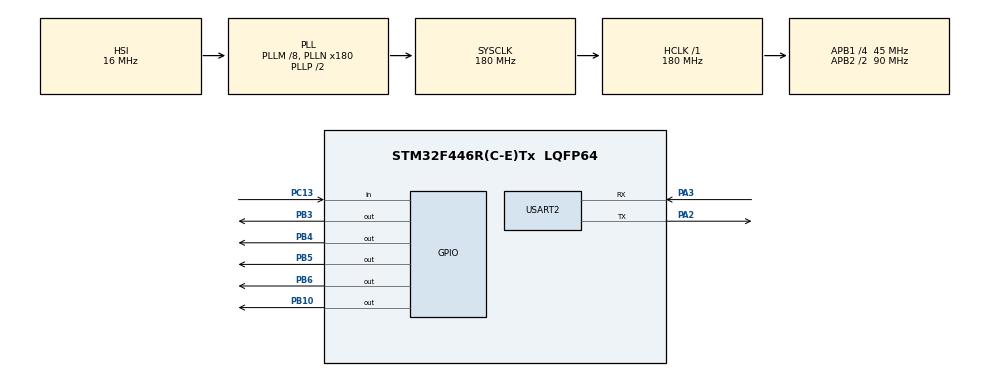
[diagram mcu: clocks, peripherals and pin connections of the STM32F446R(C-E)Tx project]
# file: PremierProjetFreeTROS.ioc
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FREERTOS.Tasks01=Task1,24,128,StartTask1,Default,NULL,Dynamic,NULL,NULL;Task2,24,128,StartTask2,Default,NULL,Dynamic,NULL,NULL;Task3,24,128,StartTask3,Default,NULL,Dynamic,NULL,NULL;TaskPedRed,24,128,StartTaskPedRed,Default,NULL,Dynamic,NULL,NULL;TaskPedGreed,24,128,StartTaskPedGreen,Default,NULL,Dynamic,NULL,NULL;TaskBtn,24,128,StartTaskBtn,Default,NULL,Dynamic,NULL,NULL
FREERTOS.configUSE_NEWLIB_REENTRANT=1
Mcu.Family=STM32F4
Mcu.Name=STM32F446R(C-E)Tx
Mcu.Package=LQFP64
NVIC.PriorityGroup=NVIC_PRIORITYGROUP_4
NVIC.TIM6_DAC_IRQn=true\:15\:0\:false\:false\:true\:false\:false\:true\:true
NVIC.TimeBase=TIM6_DAC_IRQn
NVIC.TimeBaseIP=TIM6
PA13.Mode=Serial_Wire
PA13.Signal=SYS_JTMS-SWDIO
PA14.Mode=Serial_Wire
PA14.Signal=SYS_JTCK-SWCLK
PA2.Mode=Asynchronous
PA2.Signal=USART2_TX
PA3.Mode=Asynchronous
PA3.Signal=USART2_RX
PB10.Signal=GPIO_Output
PB3.Signal=GPIO_Output
PB4.Signal=GPIO_Output
PB5.Signal=GPIO_Output
PB6.Signal=GPIO_Output
PC13.Signal=GPIO_Input
PH0-OSC_IN.Mode=HSE-External-Oscillator
PH0-OSC_IN.Signal=RCC_OSC_IN
PH1-OSC_OUT.Mode=HSE-External-Oscillator
PH1-OSC_OUT.Signal=RCC_OSC_OUT
ProjectManager.HeapSize=0x200
ProjectManager.StackSize=0x400
ProjectManager.TargetToolchain=STM32CubeIDE
RCC.48MHZClocksFreq_Value=84000000
RCC.AHBFreq_Value=180000000
RCC.APB1CLKDivider=RCC_HCLK_DIV4
RCC.APB1Freq_Value=45000000
RCC.APB1TimFreq_Value=90000000
RCC.APB2CLKDivider=RCC_HCLK_DIV2
RCC.APB2Freq_Value=90000000
RCC.APB2TimFreq_Value=180000000
RCC.CortexFreq_Value=180000000
RCC.FLatency-AdvancedSettings=FLASH_LATENCY_5
RCC.HCLKFreq_Value=180000000
RCC.HSE_VALUE=8000000
RCC.HSI_VALUE=16000000
RCC.PLLM=8
RCC.PLLN=180
RCC.SYSCLKFreq_VALUE=180000000
RCC.SYSCLKSource=RCC_SYSCLKSOURCE_PLLCLK
RCC.USBFreq_Value=180000000
RCC.VCOOutputFreq_Value=360000000
USART2.VirtualMode=VM_ASYNC
VP_FREERTOS_VS_CMSIS_V2.Mode=CMSIS_V2
VP_SYS_VS_tim6.Mode=TIM6
board=NUCLEO-F446RE

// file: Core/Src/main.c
/* USER CODE BEGIN Header */
/**
  ******************************************************************************
  * @file           : main.c
  * @brief          : Main program body
  ******************************************************************************
  * @attention
  *
  * Copyright (c) 2024 STMicroelectronics.
  * All rights reserved.
  *
  * This software is licensed under terms that can be found in the LICENSE file
  * in the root directory of this software component.
  * If no LICENSE file comes with this software, it is provided AS-IS.
  *
  ******************************************************************************
  */
/* USER CODE END Header */
#include "main.h"
#include "cmsis_os.h"

UART_HandleTypeDef huart2;

/* Definitions for Task1 */
osThreadId_t Task1Handle;
const osThreadAttr_t Task1_attributes = {
  .name = "Task1",
  .stack_size = 128 * 4,
  .priority = (osPriority_t) osPriorityNormal,
};
/* Definitions for Task2 */
osThreadId_t Task2Handle;
const osThreadAttr_t Task2_attributes = {
  .name = "Task2",
  .stack_size = 128 * 4,
  .priority = (osPriority_t) osPriorityNormal,
};
/* Definitions for Task3 */
osThreadId_t Task3Handle;
const osThreadAttr_t Task3_attributes = {
  .name = "Task3",
  .stack_size = 128 * 4,
  .priority = (osPriority_t) osPriorityNormal,
};
/* Definitions for TaskPedRed */
osThreadId_t TaskPedRedHandle;
const osThreadAttr_t TaskPedRed_attributes = {
  .name = "TaskPedRed",
  .stack_size = 128 * 4,
  .priority = (osPriority_t) osPriorityNormal,
};
/* Definitions for TaskPedGreed */
osThreadId_t TaskPedGreedHandle;
const osThreadAttr_t TaskPedGreed_attributes = {
  .name = "TaskPedGreed",
  .stack_size = 128 * 4,
  .priority = (osPriority_t) osPriorityNormal,
};
/* Definitions for TaskBtn */
osThreadId_t TaskBtnHandle;
const osThreadAttr_t TaskBtn_attributes = {
  .name = "TaskBtn",
  .stack_size = 128 * 4,
  .priority = (osPriority_t) osPriorityNormal,
};

void SystemClock_Config(void);
static void MX_GPIO_Init(void);
static void MX_USART2_UART_Init(void);
void StartTask1(void *argument);
void StartTask2(void *argument);
void StartTask3(void *argument);
void StartTaskPedRed(void *argument);
void StartTaskPedGreen(void *argument);
void StartTaskBtn(void *argument);

/* USER CODE BEGIN 0 */
uint8_t dataTask1[] = "Hi, Task1\r\n";
uint8_t dataTask2[] = "Hello, Task2\r\n";
uint8_t dataTask3[] = "Great, Task3\r\n";

/* USER CODE END 0 */

int main(void)
{

  /* MCU Configuration--------------------------------------------------------*/

  /* Reset of all peripherals, Initializes the Flash interface and the Systick. */
  HAL_Init();

  /* Configure the system clock */
  SystemClock_Config();

  /* Initialize all configured peripherals */
  MX_GPIO_Init();
  MX_USART2_UART_Init();

  /* Init scheduler */
  osKernelInitialize();

  /* Create the thread(s) */
  /* creation of Task1 */
  Task1Handle = osThreadNew(StartTask1, NULL, &Task1_attributes);

  /* creation of Task2 */
  Task2Handle = osThreadNew(StartTask2, NULL, &Task2_attributes);

  /* creation of Task3 */
  Task3Handle = osThreadNew(StartTask3, NULL, &Task3_attributes);

  /* creation of TaskPedRed */
  TaskPedRedHandle = osThreadNew(StartTaskPedRed, NULL, &TaskPedRed_attributes);

  /* creation of TaskPedGreed */
  TaskPedGreedHandle = osThreadNew(StartTaskPedGreen, NULL, &TaskPedGreed_attributes);

  /* creation of TaskBtn */
  TaskBtnHandle = osThreadNew(StartTaskBtn, NULL, &TaskBtn_attributes);

  /* Start scheduler */
  osKernelStart();

  /* We should never get here as control is now taken by the scheduler */
  /* Infinite loop */
  while (1)
  {

    /* USER CODE BEGIN 3 */
	  //HAL_UART_Transmit(&huart2, dataTask1, 7, 1000);
	  //HAL_Delay(1000);

  }
  /* USER CODE END 3 */
}

void SystemClock_Config(void)
{
  RCC_OscInitTypeDef RCC_OscInitStruct = {0};
  RCC_ClkInitTypeDef RCC_ClkInitStruct = {0};

  /** Configure the main internal regulator output voltage
  */
  __HAL_RCC_PWR_CLK_ENABLE();
  __HAL_PWR_VOLTAGESCALING_CONFIG(PWR_REGULATOR_VOLTAGE_SCALE1);

  /** Initializes the RCC Oscillators according to the specified parameters
  * in the RCC_OscInitTypeDef structure.
  */
  RCC_OscInitStruct.OscillatorType = RCC_OSCILLATORTYPE_HSI;
  RCC_OscInitStruct.HSIState = RCC_HSI_ON;
  RCC_OscInitStruct.HSICalibrationValue = RCC_HSICALIBRATION_DEFAULT;
  RCC_OscInitStruct.PLL.PLLState = RCC_PLL_ON;
  RCC_OscInitStruct.PLL.PLLSource = RCC_PLLSOURCE_HSI;
  RCC_OscInitStruct.PLL.PLLM = 8;
  RCC_OscInitStruct.PLL.PLLN = 180;
  RCC_OscInitStruct.PLL.PLLP = RCC_PLLP_DIV2;
  RCC_OscInitStruct.PLL.PLLQ = 2;
  RCC_OscInitStruct.PLL.PLLR = 2;
  if (HAL_RCC_OscConfig(&RCC_OscInitStruct) != HAL_OK)
  {
    Error_Handler();
  }

  /** Activate the Over-Drive mode
  */
  if (HAL_PWREx_EnableOverDrive() != HAL_OK)
  {
    Error_Handler();
  }

  /** Initializes the CPU, AHB and APB buses clocks
  */
  RCC_ClkInitStruct.ClockType = RCC_CLOCKTYPE_HCLK|RCC_CLOCKTYPE_SYSCLK
                              |RCC_CLOCKTYPE_PCLK1|RCC_CLOCKTYPE_PCLK2;
  RCC_ClkInitStruct.SYSCLKSource = RCC_SYSCLKSOURCE_PLLCLK;
  RCC_ClkInitStruct.AHBCLKDivider = RCC_SYSCLK_DIV1;
  RCC_ClkInitStruct.APB1CLKDivider = RCC_HCLK_DIV4;
  RCC_ClkInitStruct.APB2CLKDivider = RCC_HCLK_DIV2;

  if (HAL_RCC_ClockConfig(&RCC_ClkInitStruct, FLASH_LATENCY_5) != HAL_OK)
  {
    Error_Handler();
  }
}

static void MX_USART2_UART_Init(void)
{

  huart2.Instance = USART2;
  huart2.Init.BaudRate = 115200;
  huart2.Init.WordLength = UART_WORDLENGTH_8B;
  huart2.Init.StopBits = UART_STOPBITS_1;
  huart2.Init.Parity = UART_PARITY_NONE;
  huart2.Init.Mode = UART_MODE_TX_RX;
  huart2.Init.HwFlowCtl = UART_HWCONTROL_NONE;
  huart2.Init.OverSampling = UART_OVERSAMPLING_16;
  if (HAL_UART_Init(&huart2) != HAL_OK)
  {
    Error_Handler();
  }

}

static void MX_GPIO_Init(void)
{
  GPIO_InitTypeDef GPIO_InitStruct = {0};

  /* GPIO Ports Clock Enable */
  __HAL_RCC_GPIOC_CLK_ENABLE();
  __HAL_RCC_GPIOH_CLK_ENABLE();
  __HAL_RCC_GPIOA_CLK_ENABLE();
  __HAL_RCC_GPIOB_CLK_ENABLE();

  /*Configure GPIO pin Output Level */
  HAL_GPIO_WritePin(GPIOB, GPIO_PIN_10|GPIO_PIN_3|GPIO_PIN_4|GPIO_PIN_5
                          |GPIO_PIN_6, GPIO_PIN_RESET);

  /*Configure GPIO pin : PC13 */
  GPIO_InitStruct.Pin = GPIO_PIN_13;
  GPIO_InitStruct.Mode = GPIO_MODE_INPUT;
  GPIO_InitStruct.Pull = GPIO_NOPULL;
  HAL_GPIO_Init(GPIOC, &GPIO_InitStruct);

  /*Configure GPIO pins : PB10 PB3 PB4 PB5
                           PB6 */
  GPIO_InitStruct.Pin = GPIO_PIN_10|GPIO_PIN_3|GPIO_PIN_4|GPIO_PIN_5
                          |GPIO_PIN_6;
  GPIO_InitStruct.Mode = GPIO_MODE_OUTPUT_PP;
  GPIO_InitStruct.Pull = GPIO_NOPULL;
  GPIO_InitStruct.Speed = GPIO_SPEED_FREQ_LOW;
  HAL_GPIO_Init(GPIOB, &GPIO_InitStruct);

}

/* USER CODE BEGIN 4 */
int phase2 = 3000;
int phase3 = 1000;
int phase4 = 10000;
int phase5 = 1000;
int phase6 = 2000;
int buttonPressed = 0;
/* USER CODE END 4 */

void StartTask1(void *argument)
{
  /* USER CODE BEGIN 5 */
  /* Infinite loop */
	for (;;)
	  {
	    // HAL_GPIO_WritePin(GPIOB, GPIO_PIN_3|GPIO_PIN_4|GPIO_PIN_5, GPIO_PIN_RESET);
	    //off
		HAL_GPIO_WritePin(GPIOB, GPIO_PIN_5,GPIO_PIN_RESET);//off
	    if (buttonPressed)
	    {
			osDelay(phase2);
			HAL_GPIO_TogglePin(GPIOB, GPIO_PIN_5);//on
			osDelay(phase3);
			osDelay(phase4);
			osDelay(phase5);
			osDelay(phase6);
			buttonPressed = 0;
		}
	  }
  /* USER CODE END 5 */
}

void StartTask2(void *argument)
{
  /* USER CODE BEGIN StartTask2 */
  /* Infinite loop */
	for (;;)
	  {
		HAL_GPIO_WritePin(GPIOB, GPIO_PIN_4,GPIO_PIN_RESET);//off
	    if (buttonPressed){
			HAL_GPIO_TogglePin(GPIOB, GPIO_PIN_4);//on
			osDelay(phase2);
			HAL_GPIO_TogglePin(GPIOB, GPIO_PIN_4);//off
			osDelay(phase3);
			osDelay(phase4);
			osDelay(phase5);
			HAL_GPIO_TogglePin(GPIOB, GPIO_PIN_4);//on
			osDelay(phase6);
			HAL_GPIO_TogglePin(GPIOB, GPIO_PIN_4);//off
	    }
	  }
  /* USER CODE END StartTask2 */
}

void StartTask3(void *argument)
{
  /* USER CODE BEGIN StartTask3 */
  /* Infinite loop */
	for (;;)
	  {
		HAL_GPIO_WritePin(GPIOB, GPIO_PIN_3,GPIO_PIN_SET);//on
	    if (buttonPressed){
	    	HAL_GPIO_TogglePin(GPIOB, GPIO_PIN_3);//off
	        osDelay(phase2);
	        osDelay(phase3);
	        osDelay(phase4);
	        osDelay(phase5);
	        osDelay(phase6);
	    }
	  }
  /* USER CODE END StartTask3 */
}

void StartTaskPedRed(void *argument)
{
  /* USER CODE BEGIN StartTaskPedRed */
  /* Infinite loop */
	for (;;)
		  {
			HAL_GPIO_WritePin(GPIOB, GPIO_PIN_6,GPIO_PIN_SET);//on
		    if (buttonPressed){
		    	osDelay(phase2);
				osDelay(phase3);
				HAL_GPIO_TogglePin(GPIOB, GPIO_PIN_6);//off
				osDelay(phase4);
				HAL_GPIO_TogglePin(GPIOB, GPIO_PIN_6);//on
				osDelay(phase5);
				osDelay(phase6);
		    }
		  }
  /* USER CODE END StartTaskPedRed */
}

void StartTaskPedGreen(void *argument)
{
  /* USER CODE BEGIN StartTaskPedGreen */
  /* Infinite loop */
	for (;;)
	  {
		HAL_GPIO_WritePin(GPIOB, GPIO_PIN_10,GPIO_PIN_RESET);//off
	    if (buttonPressed){
	    	osDelay(phase2);
	    	osDelay(phase3);
			HAL_GPIO_TogglePin(GPIOB, GPIO_PIN_10);//on
			osDelay(phase4);
			HAL_GPIO_TogglePin(GPIOB, GPIO_PIN_10);//off
			osDelay(phase5);
			osDelay(phase6);
	    }
	  }
  /* USER CODE END StartTaskPedGreen */
}

void StartTaskBtn(void *argument)
{
  /* USER CODE BEGIN StartTaskBtn */
  /* Infinite loop */
  for (;;)
	  {
	  uint8_t str1[] = "I am waiting push-button\r\n";
	  HAL_UART_Transmit(&huart2, str1, sizeof(str1), 1000);
	  while(HAL_GPIO_ReadPin(GPIOC, GPIO_PIN_13));
	  buttonPressed = 1;
	  uint8_t str2[] = "I got push-button\r\n";
	  HAL_UART_Transmit(&huart2, str2, sizeof(str2), 1000);
	  osDelay(500);
	  }
  /* USER CODE END StartTaskBtn */
}

void HAL_TIM_PeriodElapsedCallback(TIM_HandleTypeDef *htim)
{
  if (htim->Instance == TIM6) {
    HAL_IncTick();
  }
}

void Error_Handler(void)
{
  __disable_irq();
  while (1)
  {
  }
}
